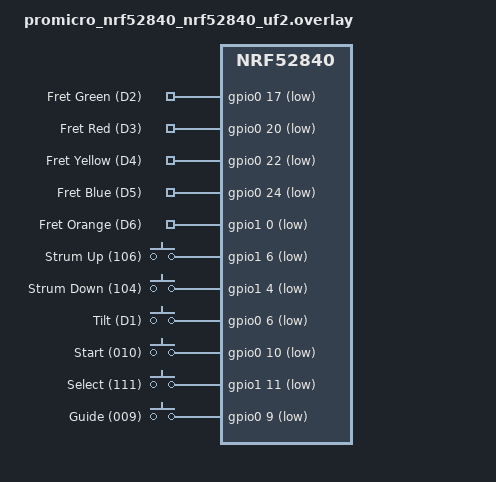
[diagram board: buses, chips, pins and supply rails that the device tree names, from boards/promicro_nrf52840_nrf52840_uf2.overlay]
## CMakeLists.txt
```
cmake_minimum_required(VERSION 3.20.0)
find_package(Zephyr REQUIRED HINTS $ENV{ZEPHYR_BASE})
project(guitar_tx)

target_sources(app PRIVATE src/main.c)
```

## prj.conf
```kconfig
# Bluetooth
CONFIG_BT=y
CONFIG_BT_PERIPHERAL=y
CONFIG_BT_DEVICE_NAME="Guitar TX"
CONFIG_BT_DEVICE_APPEARANCE=964
CONFIG_BT_MAX_CONN=2
CONFIG_BT_CONN_PARAM_ANY=y

# SoftDevice Controller with LLPM
CONFIG_BT_LL_SOFTDEVICE=y
CONFIG_BT_CTLR_SDC_LLPM=y
CONFIG_BT_CTLR_SDC_MAX_CONN_EVENT_LEN_DEFAULT=3000
CONFIG_BT_HCI_VS_EVT_USER=y

# Don't overwrite LLPM params with standard BLE defaults
CONFIG_BT_GAP_PERIPHERAL_PREF_PARAMS=n

# TX power
CONFIG_BT_CTLR_TX_PWR_PLUS_8=y

# DC/DC regulator
CONFIG_REGULATOR=y

# Memory
CONFIG_HEAP_MEM_POOL_SIZE=2048

# GPIO
CONFIG_GPIO=y
CONFIG_NRFX_GPIOTE_NUM_OF_EVT_HANDLERS=11

# System OFF (deep sleep) after idle timeout
CONFIG_POWEROFF=y

# Speed optimization (overridden by release.conf with size opt)
CONFIG_SPEED_OPTIMIZATIONS=y
```

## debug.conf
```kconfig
# TX Debug overlay
CONFIG_LOG=y
CONFIG_LOG_DEFAULT_LEVEL=3
CONFIG_PRINTK=y
CONFIG_BOOT_BANNER=y
CONFIG_BOARD_SERIAL_BACKEND_CDC_ACM=y
CONFIG_DEBUG_OPTIMIZATIONS=y
CONFIG_ASSERT=y
```

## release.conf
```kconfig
# TX Release overlay — minimum latency, maximum battery life
CONFIG_LOG=n
CONFIG_PRINTK=n
CONFIG_CONSOLE=n
CONFIG_UART_CONSOLE=n
CONFIG_SERIAL=n
CONFIG_BOOT_BANNER=n
CONFIG_BOARD_SERIAL_BACKEND_CDC_ACM=n
CONFIG_SIZE_OPTIMIZATIONS=y
CONFIG_ASSERT=n
CONFIG_RESET_ON_FATAL_ERROR=y
CONFIG_PM=y
```

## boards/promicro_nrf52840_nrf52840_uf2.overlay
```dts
/*
 * Guitar controller buttons overlay for ProMicro nRF52840 (UF2 bootloader).
 * Buttons connect pin to GND (active low, internal pull-up).
 */

#include <zephyr/dt-bindings/regulator/nrf5x.h>

/* Enable DC/DC converter (~40% power savings on radio) */
&reg1 { regulator-initial-mode = <NRF5X_REG_MODE_DCDC>; };

/* Free up pins used by peripherals we don't need */
&uart0 { status = "disabled"; };
&i2c0 { status = "disabled"; };
&i2c1 { status = "disabled"; };
&spi2 { status = "disabled"; };

/* Use SENSE mechanism for GPIO interrupts (no 8-channel GPIOTE limit) */
&gpio0 { sense-edge-mask = <0xFFFFFFFF>; };
&gpio1 { sense-edge-mask = <0xFFFFFFFF>; };

/ {
	aliases {
		fret0 = &fret_green;
		fret1 = &fret_red;
		fret2 = &fret_yellow;
		fret3 = &fret_blue;
		fret4 = &fret_orange;
		strum-up = &btn_strum_up;
		strum-down = &btn_strum_down;
		tilt = &btn_tilt;
		start = &btn_start;
		select = &btn_select;
		guide = &btn_guide;
	};

	guitar_buttons {
		compatible = "gpio-keys";

		fret_green: fret_green {
			gpios = <&gpio0 17 (GPIO_PULL_UP | GPIO_ACTIVE_LOW)>;
			label = "Fret Green (D2)";
		};
		fret_red: fret_red {
			gpios = <&gpio0 20 (GPIO_PULL_UP | GPIO_ACTIVE_LOW)>;
			label = "Fret Red (D3)";
		};
		fret_yellow: fret_yellow {
			gpios = <&gpio0 22 (GPIO_PULL_UP | GPIO_ACTIVE_LOW)>;
			label = "Fret Yellow (D4)";
		};
		fret_blue: fret_blue {
			gpios = <&gpio0 24 (GPIO_PULL_UP | GPIO_ACTIVE_LOW)>;
			label = "Fret Blue (D5)";
		};
		fret_orange: fret_orange {
			gpios = <&gpio1 0 (GPIO_PULL_UP | GPIO_ACTIVE_LOW)>;
			label = "Fret Orange (D6)";
		};
		btn_strum_up: btn_strum_up {
			gpios = <&gpio1 6 (GPIO_PULL_UP | GPIO_ACTIVE_LOW)>;
			label = "Strum Up (106)";
		};
		btn_strum_down: btn_strum_down {
			gpios = <&gpio1 4 (GPIO_PULL_UP | GPIO_ACTIVE_LOW)>;
			label = "Strum Down (104)";
		};
		btn_tilt: btn_tilt {
			gpios = <&gpio0 6 (GPIO_PULL_UP | GPIO_ACTIVE_LOW)>;
			label = "Tilt (D1)";
		};
		btn_start: btn_start {
			gpios = <&gpio0 10 (GPIO_PULL_UP | GPIO_ACTIVE_LOW)>;
			label = "Start (010)";
		};
		btn_select: btn_select {
			gpios = <&gpio1 11 (GPIO_PULL_UP | GPIO_ACTIVE_LOW)>;
			label = "Select (111)";
		};
		btn_guide: btn_guide {
			gpios = <&gpio0 9 (GPIO_PULL_UP | GPIO_ACTIVE_LOW)>;
			label = "Guide (009)";
		};
	};
};
```

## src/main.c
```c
/*
 * Guitar Controller TX — BLE Peripheral with LLPM
 *
 * Reads 7 buttons (5 frets + strum up/down) via GPIO interrupts,
 * sends state as BLE notifications with 1ms LLPM connection interval.
 */

#include <zephyr/kernel.h>
#include <zephyr/device.h>
#include <zephyr/drivers/gpio.h>
#include <zephyr/bluetooth/bluetooth.h>
#include <zephyr/bluetooth/conn.h>
#include <zephyr/bluetooth/gatt.h>
#include <zephyr/bluetooth/uuid.h>
#include <zephyr/logging/log.h>
#include <zephyr/sys/poweroff.h>
#include <bluetooth/hci_vs_sdc.h>
#include <sdc_hci_vs.h>

LOG_MODULE_REGISTER(guitar_tx, LOG_LEVEL_INF);

/* ── Custom GATT Service UUIDs ────────────────────────────────── */

/* Service:        e0a00001-5e00-4d74-9b80-5b1a3e6a0a1e */
/* Characteristic: e0a00002-5e00-4d74-9b80-5b1a3e6a0a1e */

static struct bt_uuid_128 guitar_svc_uuid = BT_UUID_INIT_128(
	BT_UUID_128_ENCODE(0xe0a00001, 0x5e00, 0x4d74, 0x9b80, 0x5b1a3e6a0a1e));

static struct bt_uuid_128 guitar_btn_uuid = BT_UUID_INIT_128(
	BT_UUID_128_ENCODE(0xe0a00002, 0x5e00, 0x4d74, 0x9b80, 0x5b1a3e6a0a1e));

/* ── Buttons ──────────────────────────────────────────────────── */

#define BTN_GREEN      0
#define BTN_RED        1
#define BTN_YELLOW     2
#define BTN_BLUE       3
#define BTN_ORANGE     4
#define BTN_STRUM_UP   5
#define BTN_STRUM_DOWN 6
#define BTN_TILT       7
#define BTN_START      8
#define BTN_SELECT     9
#define BTN_GUIDE      10
#define NUM_BUTTONS    11

static const struct gpio_dt_spec buttons[NUM_BUTTONS] = {
	GPIO_DT_SPEC_GET(DT_ALIAS(fret0), gpios),
	GPIO_DT_SPEC_GET(DT_ALIAS(fret1), gpios),
	GPIO_DT_SPEC_GET(DT_ALIAS(fret2), gpios),
	GPIO_DT_SPEC_GET(DT_ALIAS(fret3), gpios),
	GPIO_DT_SPEC_GET(DT_ALIAS(fret4), gpios),
	GPIO_DT_SPEC_GET(DT_ALIAS(strum_up), gpios),
	GPIO_DT_SPEC_GET(DT_ALIAS(strum_down), gpios),
	GPIO_DT_SPEC_GET(DT_ALIAS(tilt), gpios),
	GPIO_DT_SPEC_GET(DT_ALIAS(start), gpios),
	GPIO_DT_SPEC_GET(DT_ALIAS(select), gpios),
	GPIO_DT_SPEC_GET(DT_ALIAS(guide), gpios),
};

static struct gpio_callback btn_cb[NUM_BUTTONS];
static volatile uint16_t button_state;
static uint16_t last_notified_state;

/* ── LED indicator ────────────────────────────────────────────── */

static const struct gpio_dt_spec led = GPIO_DT_SPEC_GET(DT_ALIAS(led0), gpios);

static void led_blink_handler(struct k_work *work);
static K_WORK_DELAYABLE_DEFINE(led_blink_work, led_blink_handler);

static void led_blink_handler(struct k_work *work)
{
	gpio_pin_toggle_dt(&led);
	k_work_schedule(&led_blink_work, K_MSEC(500));
}

static void led_set_connected(bool connected)
{
	k_work_cancel_delayable(&led_blink_work);
	if (connected) {
		gpio_pin_set_dt(&led, 1);
	} else {
		k_work_schedule(&led_blink_work, K_NO_WAIT);
	}
}

/* ── BLE state ────────────────────────────────────────────────── */

static struct bt_conn *active_conn;
static bool notifications_enabled;

/* ── Notify thread (avoids deadlock on system workqueue) ──────── */

extern const struct bt_gatt_attr attr_guitar_svc[];

static K_SEM_DEFINE(notify_sem, 0, 1);

static void notify_thread_fn(void *p1, void *p2, void *p3)
{
	while (1) {
		k_sem_take(&notify_sem, K_FOREVER);
		uint16_t state = button_state;
		if (state != last_notified_state && active_conn &&
		    notifications_enabled) {
			last_notified_state = state;
			/* Pre-resolved attr (index 2 = char value) — no UUID search */
			bt_gatt_notify(active_conn, &attr_guitar_svc[2],
				       &state, sizeof(state));
		}
	}
}

K_THREAD_DEFINE(notify_tid, 512, notify_thread_fn, NULL, NULL, NULL,
		K_PRIO_PREEMPT(7), 0, 0);

/* ── Button send (1ms debounce) ────────────────────────────────── */

static void debounce_handler(struct k_work *work);
static K_WORK_DELAYABLE_DEFINE(debounce_work, debounce_handler);

static void debounce_handler(struct k_work *work)
{
	uint16_t state = 0;

	for (int i = 0; i < NUM_BUTTONS; i++) {
		if (gpio_pin_get_dt(&buttons[i])) {
			state |= BIT(i);
		}
	}

	button_state = state;
	k_sem_give(&notify_sem);
}

/* ── System OFF (deep sleep after 5 min idle) ─────────────────── */

#define IDLE_TIMEOUT_SEC 300

static void system_off_handler(struct k_work *work)
{
	LOG_INF("Idle timeout — entering System OFF");

	if (active_conn) {
		bt_conn_disconnect(active_conn,
				   BT_HCI_ERR_REMOTE_USER_TERM_CONN);
		k_sleep(K_MSEC(100));
	}

	bt_le_adv_stop();
	gpio_pin_set_dt(&led, 0);

	/* GPIO SENSE is auto-configured from pins with interrupts.
	 * Any button press (low) wakes the chip (full reset). */
	sys_poweroff();
}

static K_WORK_DELAYABLE_DEFINE(idle_work, system_off_handler);

/* ── GPIO ISR ─────────────────────────────────────────────────── */

static void button_isr(const struct device *dev, struct gpio_callback *cb,
		       uint32_t pins)
{
	ARG_UNUSED(dev);
	ARG_UNUSED(cb);
	ARG_UNUSED(pins);

	/* Reset idle timeout on any button press */
	k_work_reschedule(&idle_work, K_SECONDS(IDLE_TIMEOUT_SEC));
	k_work_reschedule(&debounce_work, K_MSEC(1));
}

/* ── GATT Service ─────────────────────────────────────────────── */

static void ccc_changed(const struct bt_gatt_attr *attr, uint16_t value)
{
	notifications_enabled = (value == BT_GATT_CCC_NOTIFY);
	LOG_INF("Notifications %s", notifications_enabled ? "on" : "off");
}

BT_GATT_SERVICE_DEFINE(guitar_svc,
	BT_GATT_PRIMARY_SERVICE(&guitar_svc_uuid),
	BT_GATT_CHARACTERISTIC(&guitar_btn_uuid.uuid,
			       BT_GATT_CHRC_NOTIFY,
			       BT_GATT_PERM_NONE,
			       NULL, NULL, NULL),
	BT_GATT_CCC(ccc_changed,
		     BT_GATT_PERM_READ | BT_GATT_PERM_WRITE),
);

/* ── Advertising restart (via recycled callback) ─────────────── */

static struct k_work adv_work;

static void adv_work_handler(struct k_work *work)
{
	const struct bt_data ad[] = {
		BT_DATA_BYTES(BT_DATA_FLAGS,
			      BT_LE_AD_GENERAL | BT_LE_AD_NO_BREDR),
		BT_DATA_BYTES(BT_DATA_UUID128_ALL,
			      BT_UUID_128_ENCODE(0xe0a00001, 0x5e00, 0x4d74,
						 0x9b80, 0x5b1a3e6a0a1e)),
	};
	int err = bt_le_adv_start(BT_LE_ADV_CONN_FAST_1, ad,
				  ARRAY_SIZE(ad), NULL, 0);
	if (err) {
		LOG_ERR("Adv restart failed: %d", err);
	} else {
		LOG_INF("Advertising restarted");
	}
}

/* ── BLE Callbacks ────────────────────────────────────────────── */

static void on_connected(struct bt_conn *conn, uint8_t err)
{
	if (err) {
		LOG_ERR("Connection failed: %u", err);
		return;
	}

	active_conn = bt_conn_ref(conn);
	led_set_connected(true);
	LOG_INF("Connected");
}

static void on_disconnected(struct bt_conn *conn, uint8_t reason)
{
	LOG_INF("Disconnected: %u", reason);
	led_set_connected(false);

	if (active_conn) {
		bt_conn_unref(active_conn);
		active_conn = NULL;
	}
	notifications_enabled = false;
	last_notified_state = 0xFFFF;
	/* Don't restart adv here — wait for recycled callback */
}

static void on_recycled(void)
{
	/* Connection object freed — safe to restart advertising */
	k_work_submit(&adv_work);
}

static struct bt_conn_cb conn_cb = {
	.connected = on_connected,
	.disconnected = on_disconnected,
	.recycled = on_recycled,
};

/* ── Main ─────────────────────────────────────────────────────── */

int main(void)
{
	int err;

	LOG_INF("Guitar TX starting");

	k_work_init(&adv_work, adv_work_handler);

	/* Init LED — start blinking (searching) */
	if (gpio_is_ready_dt(&led)) {
		gpio_pin_configure_dt(&led, GPIO_OUTPUT_INACTIVE);
		led_set_connected(false);
	}

	/* Configure GPIO buttons with interrupts (non-fatal on error) */
	for (int i = 0; i < NUM_BUTTONS; i++) {
		if (!gpio_is_ready_dt(&buttons[i])) {
			LOG_WRN("GPIO not ready for button %d, skipping", i);
			continue;
		}

		err = gpio_pin_configure_dt(&buttons[i], GPIO_INPUT);
		if (err) {
			LOG_WRN("Button %d configure failed: %d, skipping", i, err);
			continue;
		}

		err = gpio_pin_interrupt_configure_dt(&buttons[i],
						      GPIO_INT_EDGE_BOTH);
		if (err) {
			LOG_WRN("Button %d interrupt failed: %d", i, err);
			continue;
		}

		gpio_init_callback(&btn_cb[i], button_isr,
				   BIT(buttons[i].pin));
		gpio_add_callback(buttons[i].port, &btn_cb[i]);
		LOG_INF("Button %d OK (P%d.%02d)", i,
			buttons[i].port == DEVICE_DT_GET(DT_NODELABEL(gpio0)) ? 0 : 1,
			buttons[i].pin);
	}

	/* Init Bluetooth */
	bt_conn_cb_register(&conn_cb);

	err = bt_enable(NULL);
	if (err) {
		LOG_ERR("BT init failed: %d", err);
		return err;
	}
	LOG_INF("BT ready");

	/* Enable LLPM mode */
	sdc_hci_cmd_vs_llpm_mode_set_t llpm_cmd = { .enable = true };
	err = hci_vs_sdc_llpm_mode_set(&llpm_cmd);
	LOG_INF("LLPM mode: %d", err);

	/* Start advertising */
	const struct bt_data ad[] = {
		BT_DATA_BYTES(BT_DATA_FLAGS,
			      BT_LE_AD_GENERAL | BT_LE_AD_NO_BREDR),
		BT_DATA_BYTES(BT_DATA_UUID128_ALL,
			      BT_UUID_128_ENCODE(0xe0a00001, 0x5e00, 0x4d74,
						 0x9b80, 0x5b1a3e6a0a1e)),
	};
	const struct bt_data sd[] = {
		BT_DATA(BT_DATA_NAME_COMPLETE, "Guitar TX", 9),
	};

	err = bt_le_adv_start(BT_LE_ADV_CONN_FAST_1, ad, ARRAY_SIZE(ad),
			      sd, ARRAY_SIZE(sd));
	if (err) {
		LOG_ERR("Advertising failed: %d", err);
		return err;
	}
	LOG_INF("Advertising started");

	/* Start idle timeout — System OFF after 5 min no buttons */
	k_work_schedule(&idle_work, K_SECONDS(IDLE_TIMEOUT_SEC));

	/* All work done in ISR + BLE callbacks */
	while (1) {
		k_sleep(K_FOREVER);
	}

	return 0;
}
```
